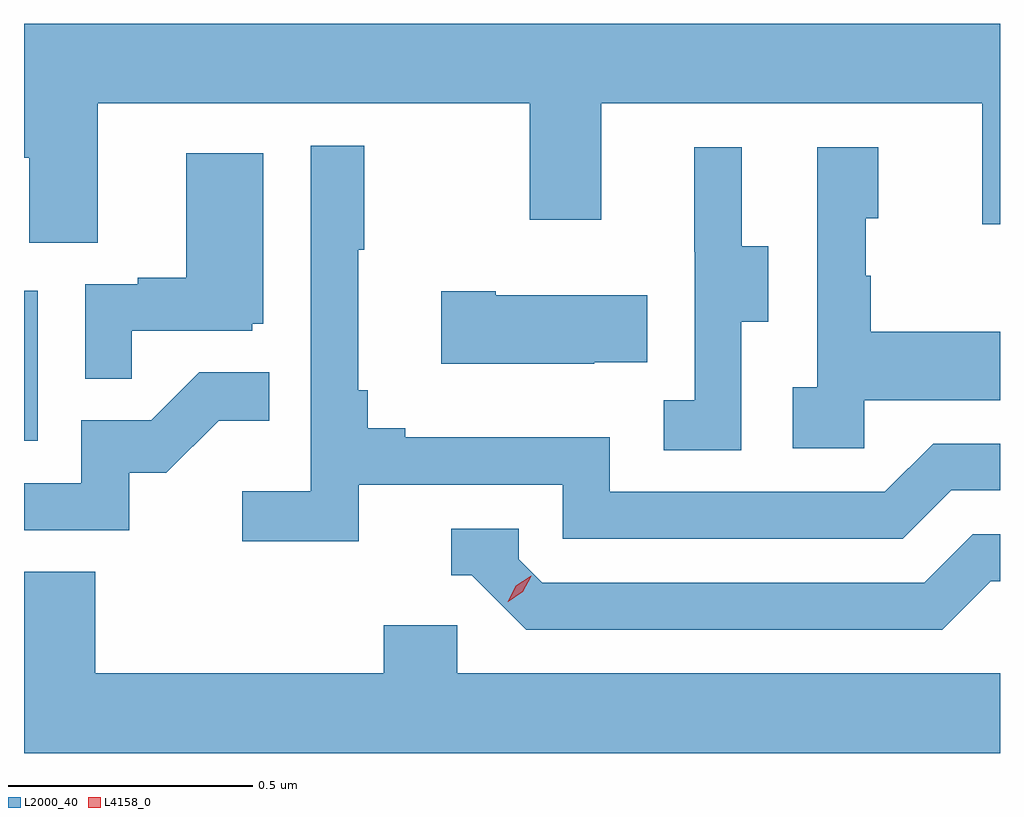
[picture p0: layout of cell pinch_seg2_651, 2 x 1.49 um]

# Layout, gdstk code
import gdstk
lib = gdstk.Library(unit=1e-6, precision=1e-09)
def R(c, l, rs):  # rectangles x0, y0, x1, y1
    for r in rs: c.add(gdstk.rectangle(r[:2], r[2:], *l))
def P(c, l, *ps):  # polygons
    for p in ps: c.add(gdstk.Polygon(p, *l))
L2000_40 = (2000, 40)
L4158_0 = (4158, 0)

pinch_seg2_651 = lib.new_cell('pinch_seg2_651')
R(pinch_seg2_651, L2000_40, [(1060.116,594.996,1060.144,595.303)])
P(pinch_seg2_651, L2000_40, [(1060.267,595.688),(1061.152,595.688),(1061.152,595.449),(1061.299,595.449),(1061.299,595.688),(1062.08,595.688),(1062.08,595.44),(1062.116,595.44),(1062.116,595.85),(1060.116,595.85),(1060.116,595.576),(1060.127,595.576),(1060.127,595.402),(1060.267,595.402)],
  [(1060.802,594.906),(1061.22,594.906),(1061.22,594.795),(1061.917,594.795),(1062.016,594.894),(1062.116,594.894),(1062.116,594.99),(1061.979,594.99),(1061.88,594.891),(1061.316,594.891),(1061.316,595.003),(1060.897,595.003),(1060.897,595.022),(1060.82,595.022),(1060.82,595.099),(1060.801,595.099),(1060.801,595.387),(1060.813,595.387),(1060.813,595.6),(1060.704,595.6),(1060.704,594.892),(1060.563,594.892),(1060.563,594.79),(1060.802,594.79)],
  [(1061.838,595.079),(1062.116,595.079),(1062.116,595.219),(1061.851,595.219),(1061.851,595.334),(1061.841,595.334),(1061.841,595.452),(1061.866,595.452),(1061.866,595.597),(1061.742,595.597),(1061.742,595.106),(1061.691,595.106),(1061.691,594.981),(1061.838,594.981)],
  [(1061.586,595.24),(1061.641,595.24),(1061.641,595.395),(1061.587,595.395),(1061.587,595.597),(1061.489,595.597),(1061.489,595.383),(1061.49,595.383),(1061.49,595.079),(1061.427,595.079),(1061.427,594.976),(1061.586,594.976)],
  [(1060.337,595.221),(1060.584,595.221),(1060.584,595.236),(1060.606,595.236),(1060.606,595.585),(1060.448,595.585),(1060.448,595.33),(1060.349,595.33),(1060.349,595.317),(1060.242,595.317),(1060.242,595.123),(1060.337,595.123)],
  [(1061.285,595.157),(1061.393,595.157),(1061.393,595.294),(1061.083,595.294),(1061.083,595.302),(1060.971,595.302),(1060.971,595.154),(1061.285,595.154)],
  [(1060.332,594.93),(1060.408,594.93),(1060.515,595.037),(1060.619,595.037),(1060.619,595.136),(1060.475,595.136),(1060.377,595.038),(1060.233,595.038),(1060.233,594.909),(1060.116,594.909),(1060.116,594.813),(1060.332,594.813)],
  [(1062.097,594.708),(1062.116,594.708),(1062.116,594.804),(1062.06,594.804),(1061.961,594.705),(1061.178,594.705),(1061.13,594.753),(1061.13,594.816),(1060.991,594.816),(1060.991,594.72),(1061.034,594.72),(1061.145,594.609),(1061.998,594.609)],
  [(1062.116,594.52),(1061.004,594.52),(1061.004,594.618),(1060.853,594.618),(1060.853,594.52),(1060.262,594.52),(1060.262,594.728),(1060.116,594.728),(1060.116,594.356),(1062.116,594.356)])
P(pinch_seg2_651, L4158_0, [(1061.107,594.666),(1061.107,594.666),(1061.124,594.699),(1061.155,594.719),(1061.155,594.719),(1061.155,594.718),(1061.138,594.686),(1061.108,594.666)])

lib.write_gds('pinch_seg2_651.gds')
